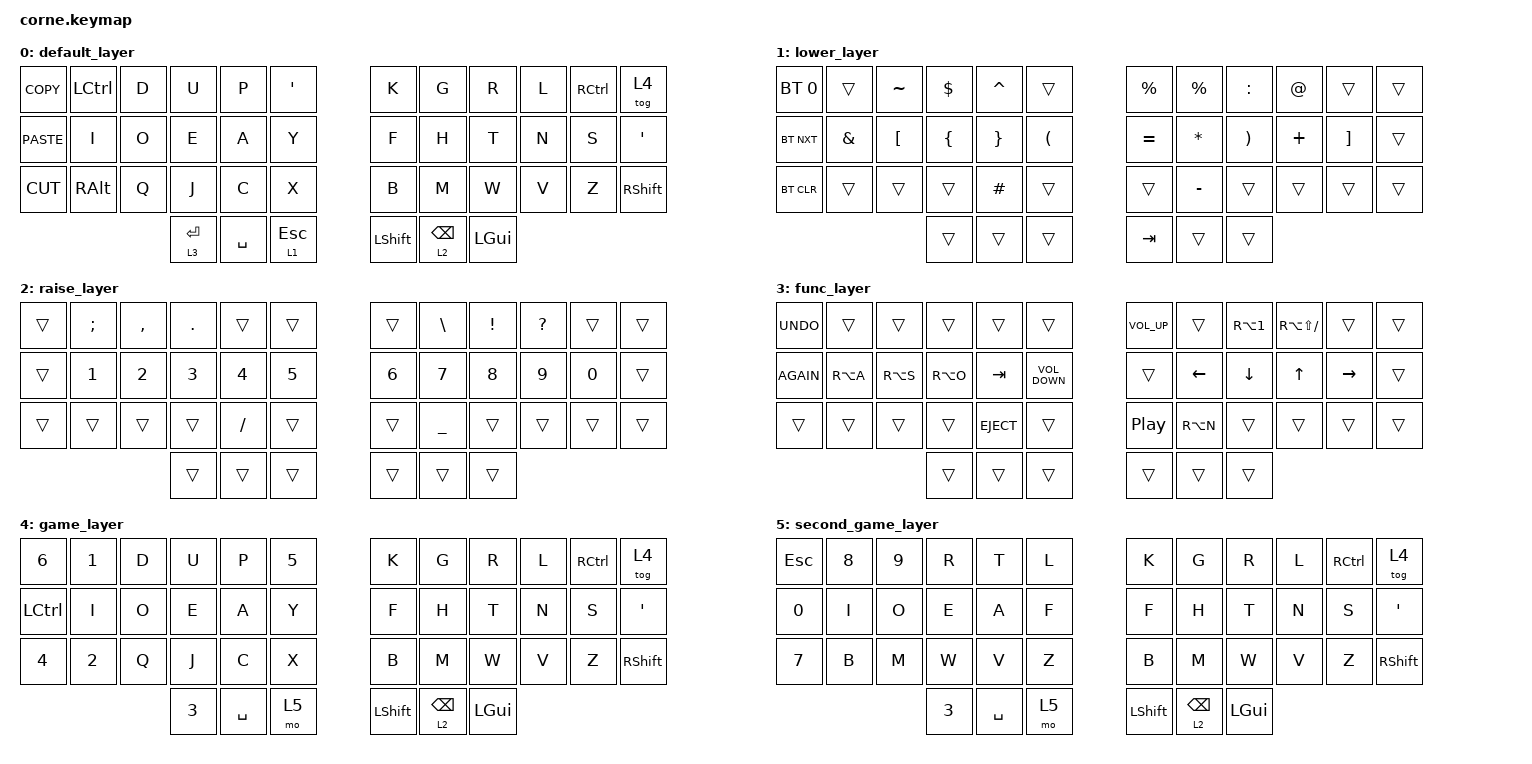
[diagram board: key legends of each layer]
/*
 * Copyright (c) 2020 The ZMK Contributors
 *
 * SPDX-License-Identifier: MIT
 */

#include <behaviors.dtsi>
#include <dt-bindings/zmk/keys.h>
#include <dt-bindings/zmk/bt.h>

&mt {
 retro-tap;
};

/ {
        keymap {
                compatible = "zmk,keymap";

                default_layer {
// -----------------------------------------------------------------------------------------
// |  TAB |  Q  |  W  |  E  |  R  |  T  |   |  Y  |  U   |  I  |  O  |  P  | BKSP |
// | CTRL |  A  |  S  |  D  |  F  |  G  |   |  H  |  J   |  K  |  L  |  ;  |  '   |
// | SHFT |  Z  |  X  |  C  |  V  |  B  |   |  N  |  M   |  ,  |  .  |  /  | SHFT |
//                    | GUI | LWR | SPC |   | ENT | RSE  | ALT |
                        bindings = <
   &kp K_COPY   &kp LCTRL &kp D &kp U &kp P &kp SQT   &kp K &kp G  &kp R     &kp L   &kp RCTRL    &tog 4
   &kp K_PASTE &kp I &kp O &kp E &kp A &kp Y   &kp F &kp H  &kp T     &kp N   &kp S &kp SQT
   &kp K_CUT &kp RALT &kp Q &kp J &kp C &kp X   &kp B &kp M  &kp W &kp V &kp Z &kp RSHFT
                  &lt 3 ENTER &kp SPACE &lt 1 ESC   &kp LSHFT &lt 2 BSPC &kp LGUI
                        >;
                };
                lower_layer {
// -----------------------------------------------------------------------------------------
// |  ESC |  1  |  2  |  3  |  4  |  5  |   |  6  |  7  |  8  |  9  |  0  | BKSP |
// | BTCLR| BT1 | BT2 | BT3 | BT4 | BT5 |   | LFT | DWN |  UP | RGT |     |      |
// | SHFT |     |     |     |     |     |   |     |     |     |     |     |      |
//                    | GUI |     | SPC |   | ENT |     | ALT |
                        bindings = <
   &bt BT_SEL 0    &trans    &kp TILDE   &kp DOLLAR  &kp CARET  &trans    &kp PRCNT   &kp PRCNT   &kp COLON &kp AT &trans &trans
   &bt BT_NXT &kp AMPS &kp LBKT &kp LBRC &kp RBRC &kp LPAR      &kp EQUAL &kp STAR &kp RPAR &kp PLUS &kp RBKT &trans
   &bt BT_CLR  &trans       &trans       &trans       &kp HASH       &trans            &trans   &kp MINUS   &trans &trans    &trans &trans
                                        &trans     &trans       &trans         &kp TAB &trans &trans
                        >;
                };

                raise_layer {
// -----------------------------------------------------------------------------------------
// |  ESC |  !  |  @  |  #  |  $  |  %  |   |  ^  |  &  |  *  |  (  |  )  | BKSP |
// | CTRL |     |     |     |     |     |   |  -  |  =  |  {  |  }  | "|" |  `   |
// | SHFT |     |     |     |     |     |   |  _  |  +  |  [  |  ]  |  \  |  ~   | // TODO: Fix this row when &mkp is committed
//                    | GUI |     | SPC |   | ENT |     | ALT |
                        bindings = <
   &trans  &kp SEMICOLON  &kp COMMA  &kp DOT  &trans  &trans   &trans &kp BSLH  &kp EXCL &kp QMARK &trans &trans
   &trans &kp N1    &kp N2  &kp N3    &kp N4    &kp N5      &kp N6 &kp N7 &kp N8  &kp N9 &kp N0 &trans
   &trans &trans    &trans  &trans    &kp SLASH    &trans      &trans    &kp UNDER    &trans          &trans   &trans &trans
                                   &trans &trans &trans   &trans &trans &trans
                        >;
                };
                func_layer {
// -----------------------------------------------------------------------------------------
// |  ESC |  !  |  @  |  #  |  $  |  %  |   |  ^  |  &  |  *  |  (  |  )  | BKSP |
// | CTRL |     |     |     |     |     |   |  -  |  =  |  {  |  }  | "|" |  `   |
// | SHFT |     |     |     |     |     |   |  _  |  +  |  [  |  ]  |  \  |  ~   | // TODO: Fix this row when &mkp is committed
//                    | GUI |     | SPC |   | ENT |     | ALT |
                        bindings = <
   &kp K_UNDO  &trans  &trans  &trans  &trans  &trans   &kp C_VOLUME_UP &trans  &kp RA(1) &kp RA(LS(SLASH)) &trans &trans
   &kp K_AGAIN  &kp RA(A)    &kp RA(S)  &kp RA(O)    &kp TAB    &kp C_VOLUME_DOWN      &trans &kp LEFT &kp DOWN        &kp UP &kp RIGHT &trans
   &trans &trans    &trans  &trans    &kp C_EJECT    &trans      &kp C_PP    &kp RA(N)    &trans          &trans   &trans &trans
                                   &trans &trans &trans   &trans &trans &trans
                        >;
                };
                game_layer {
// -----------------------------------------------------------------------------------------
// |  ESC |  !  |  @  |  #  |  $  |  %  |   |  ^  |  &  |  *  |  (  |  )  | BKSP |
// | CTRL |     |     |     |     |     |   |  -  |  =  |  {  |  }  | "|" |  `   |
// | SHFT |     |     |     |     |     |   |  _  |  +  |  [  |  ]  |  \  |  ~   | // TODO: Fix this row when &mkp is committed
//                    | GUI |     | SPC |   | ENT |     | ALT |
                        bindings = <
   &kp N6 &kp N1 &kp D &kp U &kp P &kp N5   &kp K &kp G  &kp R     &kp L   &kp RCTRL    &tog 4
   &kp LCTRL &kp I &kp O &kp E &kp A &kp Y   &kp F &kp H  &kp T     &kp N   &kp S &kp SQT
   &kp N4 &kp N2 &kp Q &kp J &kp C &kp X   &kp B &kp M  &kp W &kp V &kp Z &kp RSHFT
                  &kp N3 &kp SPACE &mo 5   &kp LSHFT &lt 2 BSPC &kp LGUI
                        >;
                };
                second_game_layer {
// -----------------------------------------------------------------------------------------
// |  ESC |  !  |  @  |  #  |  $  |  %  |   |  ^  |  &  |  *  |  (  |  )  | BKSP |
// | CTRL |     |     |     |     |     |   |  -  |  =  |  {  |  }  | "|" |  `   |
// | SHFT |     |     |     |     |     |   |  _  |  +  |  [  |  ]  |  \  |  ~   | // TODO: Fix this row when &mkp is committed
//                    | GUI |     | SPC |   | ENT |     | ALT |
                        bindings = <
   &kp ESC &kp N8 &kp N9 &kp R &kp T &kp L   &kp K &kp G  &kp R     &kp L   &kp RCTRL    &tog 4
   &kp N0 &kp I &kp O &kp E &kp A &kp F   &kp F &kp H  &kp T     &kp N   &kp S &kp SQT
   &kp N7 &kp B &kp M &kp W &kp V &kp Z   &kp B &kp M  &kp W &kp V &kp Z &kp RSHFT
                  &kp N3 &kp SPACE &mo 5   &kp LSHFT &lt 2 BSPC &kp LGUI
                        >;
                };
        };
};
